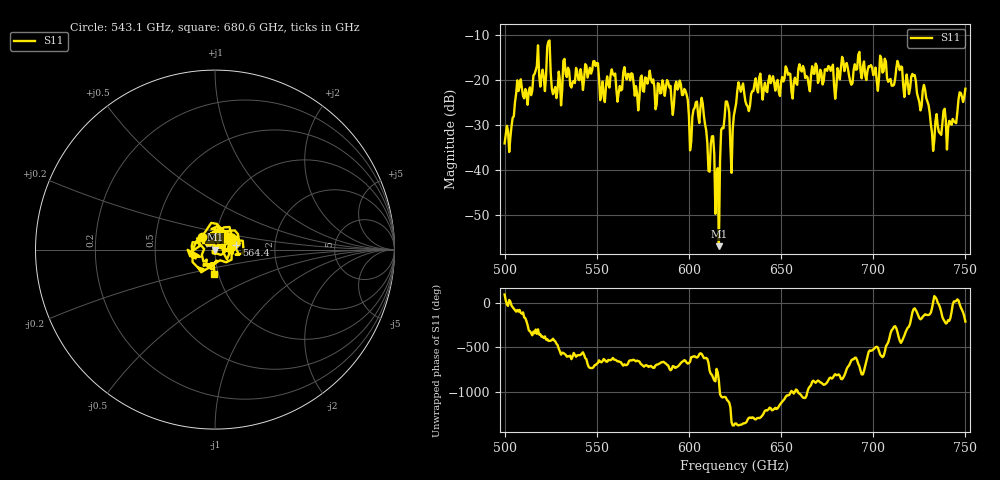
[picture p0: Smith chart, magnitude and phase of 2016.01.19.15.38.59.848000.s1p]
!Created with skrf (http://scikit-rf.org).
# GHz S RI R 50.0
!freq ReS11 ImS11
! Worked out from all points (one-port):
!   401 points, 500 GHz to 750 GHz, reference 50 ohm
!   lowest |S11| = -57.0 dB at 616.2 GHz (marker M1), VSWR 1.00, Z = 49.9 - j0.056 ohm
!   |S11| at or under -10 dB: start of sweep to end of sweep
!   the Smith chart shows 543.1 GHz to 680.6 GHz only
!   S11 on the Smith chart (normalised r, x): 543.1 GHz: 0.86, +0.12; 564.4 GHz: 1.27, +0.07; 680.6 GHz: 0.96, -0.26
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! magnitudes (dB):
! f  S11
! 500 GHz  -34.1
! 503.8 GHz  -30.3
! 507.5 GHz  -22.5
! 513.8 GHz  -21.7
! 516.9 GHz  -17.8
! 531.2 GHz  -22.2
! 543.1 GHz  -19.8
! 562.5 GHz  -21.3
! 564.4 GHz  -18.3
! 593.8 GHz  -22.1
! 601.2 GHz  -33.8
! 607.5 GHz  -25.3
! 615 GHz  -40.9
! 616.2 GHz  -57.0
! 619.4 GHz  -28.2
! 623.1 GHz  -40.7
! 625 GHz  -26.5
! 628.1 GHz  -22.6
! 631.9 GHz  -25.9
! 637.5 GHz  -22.8
! 656.2 GHz  -24.1
! 680.6 GHz  -17.4
! 687.5 GHz  -20.3
! 705 GHz  -18.4
! 718.8 GHz  -20.7
! 728.1 GHz  -22.2
! 732.5 GHz  -35.8
! 750 GHz  -22.0
